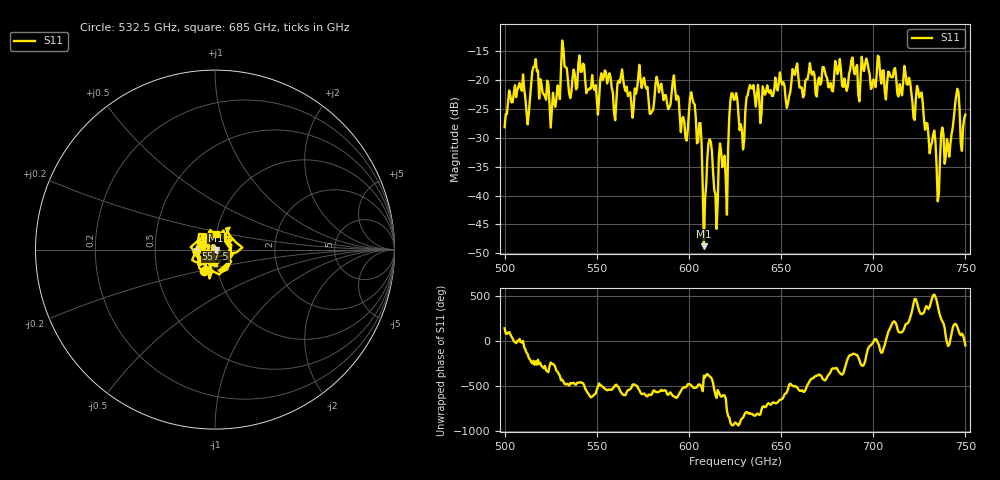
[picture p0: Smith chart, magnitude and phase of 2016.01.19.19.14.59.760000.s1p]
!Created with skrf (http://scikit-rf.org).
# GHz S RI R 50.0
!freq ReS11 ImS11
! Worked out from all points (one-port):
!   401 points, 500 GHz to 750 GHz, reference 50 ohm
!   lowest |S11| = -48.8 dB at 608.1 GHz (marker M1), VSWR 1.01, Z = 50.3 - j0.151 ohm
!   |S11| at or under -10 dB: start of sweep to end of sweep
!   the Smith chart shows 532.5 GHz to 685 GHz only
!   S11 on the Smith chart (normalised r, x): 532.5 GHz: 0.87, -0.21; 557.5 GHz: 0.81, +0.01; 685 GHz: 1.00, +0.18
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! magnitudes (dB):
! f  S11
! 500 GHz  -28.1
! 508.8 GHz  -21.4
! 512.5 GHz  -27.7
! 516.2 GHz  -17.6
! 526.2 GHz  -22.2
! 531.2 GHz  -13.1
! 532.5 GHz  -17.6
! 535.6 GHz  -23.1
! 557.5 GHz  -19.5
! 562.5 GHz  -20.5
! 593.8 GHz  -22.7
! 598.1 GHz  -29.9
! 601.9 GHz  -23.2
! 608.1 GHz  -48.8
! 611.2 GHz  -30.2
! 614.4 GHz  -39.8
! 617.5 GHz  -32.5
! 620 GHz  -37.3
! 625 GHz  -23.3
! 628.8 GHz  -28.6
! 633.8 GHz  -21.3
! 656.2 GHz  -18.1
! 685 GHz  -21.1
! 687.5 GHz  -18.2
! 718.8 GHz  -20.8
! 735 GHz  -41.0
! 745 GHz  -22.7
! 750 GHz  -26.0
